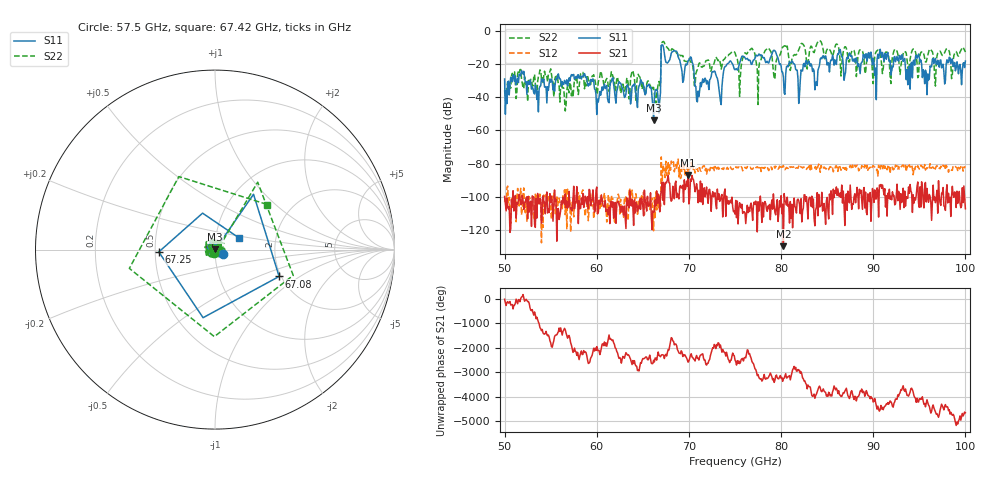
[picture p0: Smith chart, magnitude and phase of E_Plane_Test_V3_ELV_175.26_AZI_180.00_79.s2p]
! 11/26/2026 4:52:45 PM
! C:\ANRITSUVNA\TEMP\TEMP.S2P
! CHANNEL.1
! TR.MEASUREMENT
! RAW.DATA
# HZ S RI R 50.0
! FREQ.HZ  S11RE  S11IM  S21RE  S21IM  S12RE  S12IM  S22RE  S22IM
!; PortSelection: Port_12
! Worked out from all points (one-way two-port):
!   601 points, 50 GHz to 100 GHz, reference 50 ohm
!   highest |S21| = -86.99 dB at 69.92 GHz (marker M1); lowest = -130.0 dB at 80.25 GHz (marker M2)
!   lowest |S11| = -53.9 dB at 66.17 GHz (marker M3), VSWR 1.00, Z = 50.1 + j0.148 ohm
!   |S11| at or under -10 dB: start of sweep to 67 GHz; 67.25 GHz to end of sweep
!   |S22| runs from -48.2 to -5.6 dB; largest |S21 - S12| = 0.00017
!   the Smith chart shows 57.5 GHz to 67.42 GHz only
!   S11 on the Smith chart (normalised r, x): 57.5 GHz: 1.09, -0.05; 67.08 GHz: 1.95, -0.69; 67.25 GHz: 0.52, -0.01; 67.42 GHz: 1.29, +0.18
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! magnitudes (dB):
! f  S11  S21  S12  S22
! 50 GHz  -28.9  -99.9  -103.2  -35.7
! 51.67 GHz  -26.3  -101.3  -100.5  -23.2
! 53.42 GHz  -34.7  -101.2  -112.8  -35.1
! 57.5 GHz  -26.1  -93.8  -112.3  -34.6
! 58.42 GHz  -27.1  -104.6  -96.8  -24.7
! 60.17 GHz  -42.8  -109.0  -110.2  -30.4
! 66.17 GHz  -53.9  -109.2  -120.7  -34.0
! 66.67 GHz  -41.5  -98.5  -107.3  -31.6
! 67.08 GHz  -8.2  -91.4  -94.6  -6.8
! 67.25 GHz  -10.1  -91.4  -82.4  -6.2
! 67.42 GHz  -16.6  -93.2  -88.5  -8.3
! 69.92 GHz  -17.9  -87.0  -85.5  -17.3
! 70.92 GHz  -42.7  -95.5  -83.2  -23.1
! 75 GHz  -23.3  -110.6  -83.2  -13.0
! 79.25 GHz  -11.5  -105.5  -81.8  -29.0
! 80.25 GHz  -27.8  -130.0  -81.2  -9.3
! 83.42 GHz  -24.3  -106.6  -83.1  -10.8
! 91.67 GHz  -16.6  -101.0  -80.9  -15.2
! 93.75 GHz  -32.4  -101.1  -82.8  -21.3
! 94.83 GHz  -15.1  -91.2  -81.4  -28.1
! 95.83 GHz  -38.4  -95.1  -83.1  -16.6
! 100 GHz  -18.0  -107.4  -81.7  -12.5
